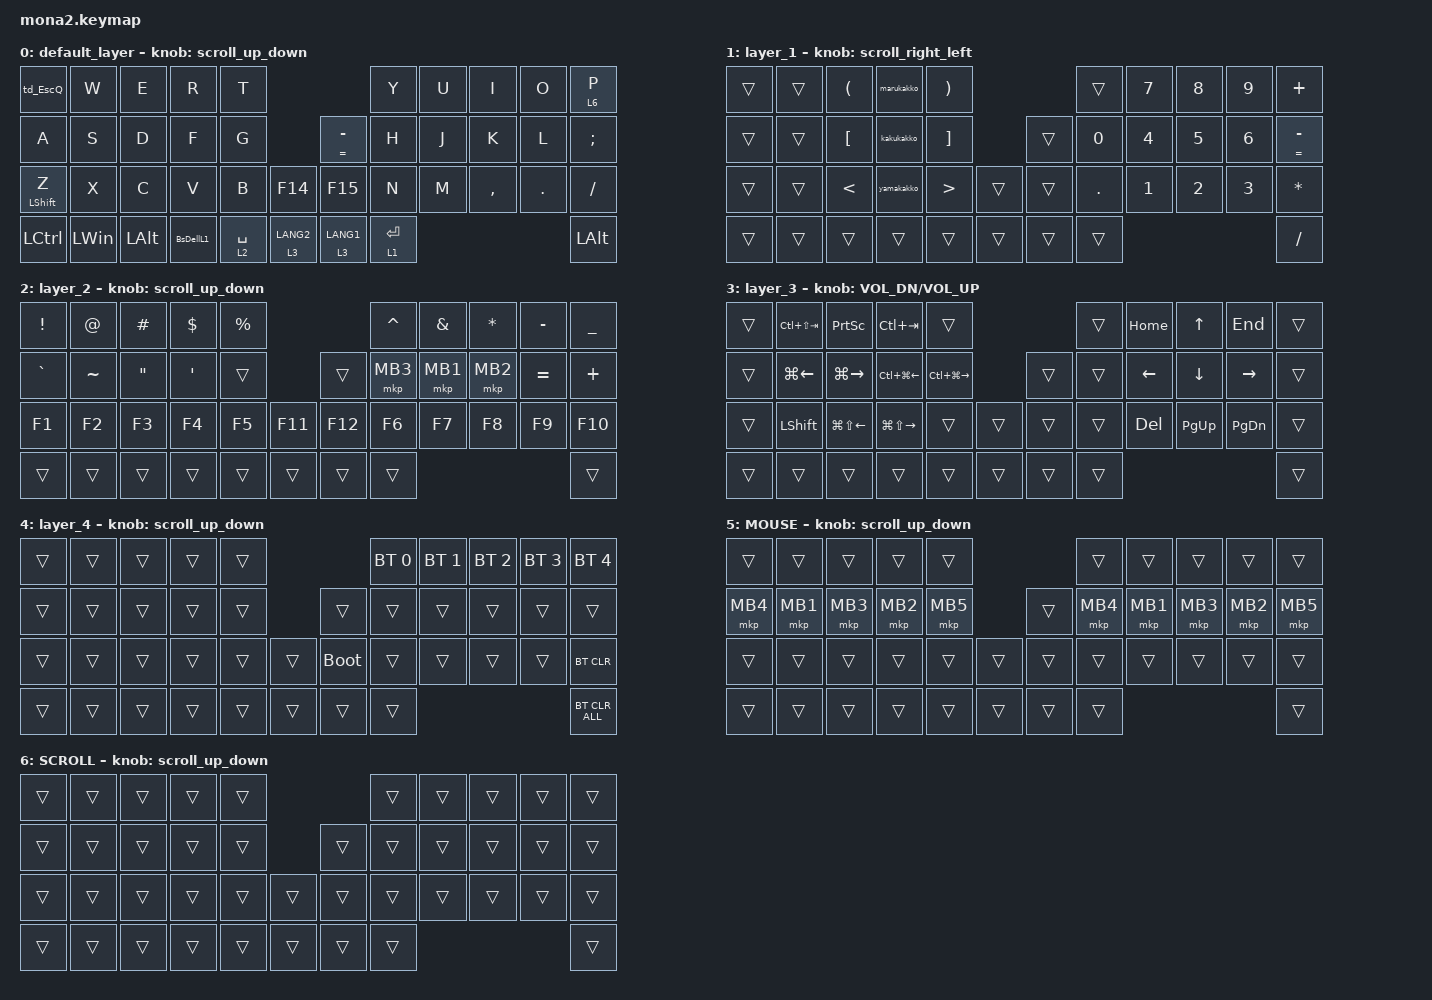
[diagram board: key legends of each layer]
#include <input/processors.dtsi>
#include <dt-bindings/zmk/input_transform.h>
#include <zephyr/dt-bindings/input/input-event-codes.h>
#include <behaviors.dtsi>
#include <dt-bindings/zmk/bt.h>
#include <dt-bindings/zmk/keys.h>
#include <dt-bindings/zmk/pointing.h>

#define ZMK_POINTING_DEFAULT_SCRL_VAL 100
#define MOUSE 5
#define SCROLL 6

&mt {
    flavor = "balanced";
    quick-tap-ms = <0>;
};

&lt {
    quick-tap-ms = <300>;
    flavor = "balanced";
};

/ {
    combos {
        compatible = "zmk,combos";

        layer4_ESC {
            bindings = <&lt 4 ESC>;
            key-positions = <39 38>;
        };

        tab {
            bindings = <&kp TAB>;
            key-positions = <11 12>;
        };
    };

    macros {
        to_layer_0: to_layer_0 {
            compatible = "zmk,behavior-macro-one-param";
            #binding-cells = <1>;
            bindings = <&to 0 &macro_param_1to1 &kp MACRO_PLACEHOLDER>;
            label = "TO_LAYER_0";
        };

        marukakko: marukakko {
            compatible = "zmk,behavior-macro";
            #binding-cells = <0>;
            bindings = <&kp LEFT_PARENTHESIS &kp RIGHT_PARENTHESIS &kp LEFT>;
            label = "()";
        };

        kakukakko: kakukakko {
            compatible = "zmk,behavior-macro";
            #binding-cells = <0>;
            bindings = <&kp LEFT_BRACKET &kp RIGHT_BRACKET &kp LEFT_ARROW>;
            label = "[]";
        };

        yamakakko: yamakakko {
            compatible = "zmk,behavior-macro";
            #binding-cells = <0>;
            bindings = <&kp LESS_THAN &kp GREATER_THAN &kp LEFT>;
            label = "YAMAKAKKO";
        };
    };

    behaviors {
        lt_to_layer_0: lt_to_layer_0 {
            compatible = "zmk,behavior-hold-tap";
            label = "LAYER_TAP_TO_0";
            bindings = <&mo>, <&to_layer_0>;

            #binding-cells = <2>;
            tapping-term-ms = <200>;
        };

        scroll_up_down: mouse_wheel_up_down {
            compatible = "zmk,behavior-sensor-rotate";
            #sensor-binding-cells = <0>;
            bindings = <&msc SCRL_DOWN>, <&msc SCRL_UP>;

            tap-ms = <20>;
        };

        scroll_right_left: mouse_wheel_right_left {
            compatible = "zmk,behavior-sensor-rotate";
            #sensor-binding-cells = <0>;
            bindings = <&msc SCRL_LEFT>, <&msc SCRL_RIGHT>;

            tap-ms = <20>;
        };

        td_EscQ: td_EscQ {
            compatible = "zmk,behavior-tap-dance";
            label = "TD_ESCQ";
            #binding-cells = <0>;
            bindings = <&kp ESC>, <&kp Q>;
        };

        HoldTap: HoldTap {
            compatible = "zmk,behavior-hold-tap";
            label = "HOLDTAP";
            bindings = <&lt>, <&kp>;

            #binding-cells = <2>;
            tapping-term-ms = <200>;
        };

        BsDellL1: BsDellL1 {
            compatible = "zmk,behavior-tap-dance";
            label = "BSDELLL1";
            #binding-cells = <0>;
            bindings = <&HoldTap 1 BACKSPACE>, <&kp DELETE>;
        };
    };

    keymap {
        compatible = "zmk,keymap";

        default_layer {
            bindings = <
&td_EscQ          &kp W         &kp E         &kp R      &kp T                                                          &kp Y        &kp U  &kp I      &kp O    &lt 6 P
&kp A             &kp S         &kp D         &kp F      &kp G                                  &mt EQUAL MINUS         &kp H        &kp J  &kp K      &kp L    &kp SEMICOLON
&mt LEFT_SHIFT Z  &kp X         &kp C         &kp V      &kp B        &kp F14                   &kp F15                 &kp N        &kp M  &kp COMMA  &kp DOT  &kp SLASH
&kp LCTRL         &kp LEFT_WIN  &kp LEFT_ALT  &BsDellL1  &lt 2 SPACE  &lt_to_layer_0 3 LANG2    &lt_to_layer_0 3 LANG1  &lt 1 ENTER                             &kp LEFT_ALT
            >;

            sensor-bindings = <&scroll_up_down>;
        };

        layer_1 {
            bindings = <
&trans  &trans  &kp LEFT_PARENTHESIS  &marukakko  &kp RIGHT_PARENTHESIS                    &trans        &kp NUMBER_7  &kp NUMBER_8  &kp NUMBER_9  &kp PLUS
&trans  &trans  &kp LEFT_BRACKET      &kakukakko  &kp RIGHT_BRACKET                &trans  &kp NUMBER_0  &kp NUMBER_4  &kp NUMBER_5  &kp NUMBER_6  &mt EQUAL MINUS
&trans  &trans  &kp LESS_THAN         &yamakakko  &kp GREATER_THAN       &trans    &trans  &kp DOT       &kp NUMBER_1  &kp NUMBER_2  &kp NUMBER_3  &kp STAR
&trans  &trans  &trans                &trans      &trans                 &trans    &trans  &trans                                                  &kp SLASH
            >;

            sensor-bindings = <&scroll_right_left>;
        };

        layer_2 {
            bindings = <
&kp EXCLAMATION  &kp AT_SIGN  &kp POUND          &kp DOLLAR  &kp PERCENT                      &kp CARET  &kp AMPERSAND  &kp ASTERISK  &kp MINUS  &kp UNDERSCORE
&kp GRAVE        &kp TILDE    &kp DOUBLE_QUOTES  &kp SQT     &trans                  &trans   &mkp MB3   &mkp MB1       &mkp MB2      &kp EQUAL  &kp PLUS
&kp F1           &kp F2       &kp F3             &kp F4      &kp F5       &kp F11    &kp F12  &kp F6     &kp F7         &kp F8        &kp F9     &kp F10
&trans           &trans       &trans             &trans      &trans       &trans     &trans   &trans                                             &trans
            >;

            sensor-bindings = <&scroll_up_down>;
        };

        layer_3 {
            bindings = <
&trans  &kp LC(LS(TAB))     &kp PRINTSCREEN         &kp LC(TAB)              &trans                                     &trans  &kp HOME        &kp UP_ARROW    &kp END          &trans
&trans  &kp LG(LEFT_ARROW)  &kp LG(RIGHT_ARROW)     &kp LC(LG(LEFT_ARROW))   &kp LC(LG(RIGHT_ARROW))            &trans  &trans  &kp LEFT_ARROW  &kp DOWN_ARROW  &kp RIGHT_ARROW  &trans
&trans  &kp LEFT_SHIFT      &kp LG(LS(LEFT_ARROW))  &kp LG(LS(RIGHT_ARROW))  &trans                   &trans    &trans  &trans  &kp DELETE      &kp PAGE_UP     &kp PAGE_DOWN    &trans
&trans  &trans              &trans                  &trans                   &trans                   &trans    &trans  &trans                                                   &trans
            >;

            sensor-bindings = <&inc_dec_kp C_VOL_DN C_VOL_UP>;
        };

        layer_4 {
            bindings = <
&trans  &trans  &trans  &trans  &trans                         &bt BT_SEL 0  &bt BT_SEL 1  &bt BT_SEL 2  &bt BT_SEL 3  &bt BT_SEL 4
&trans  &trans  &trans  &trans  &trans            &trans       &trans        &trans        &trans        &trans        &trans
&trans  &trans  &trans  &trans  &trans  &trans    &bootloader  &trans        &trans        &trans        &trans        &bt BT_CLR
&trans  &trans  &trans  &trans  &trans  &trans    &trans       &trans                                                  &bt BT_CLR_ALL
            >;

            sensor-bindings = <&scroll_up_down>;
        };

        MOUSE {
            bindings = <
&trans    &trans    &trans    &trans    &trans                      &trans    &trans    &trans    &trans    &trans
&mkp MB4  &mkp MB1  &mkp MB3  &mkp MB2  &mkp MB5            &trans  &mkp MB4  &mkp MB1  &mkp MB3  &mkp MB2  &mkp MB5
&trans    &trans    &trans    &trans    &trans    &trans    &trans  &trans    &trans    &trans    &trans    &trans
&trans    &trans    &trans    &trans    &trans    &trans    &trans  &trans                                  &trans
            >;

            sensor-bindings = <&scroll_up_down>;
        };

        SCROLL {
            bindings = <
&trans  &trans  &trans  &trans  &trans                    &trans  &trans  &trans  &trans  &trans
&trans  &trans  &trans  &trans  &trans            &trans  &trans  &trans  &trans  &trans  &trans
&trans  &trans  &trans  &trans  &trans  &trans    &trans  &trans  &trans  &trans  &trans  &trans
&trans  &trans  &trans  &trans  &trans  &trans    &trans  &trans                          &trans
            >;

            sensor-bindings = <&scroll_up_down>;
        };
    };
};
